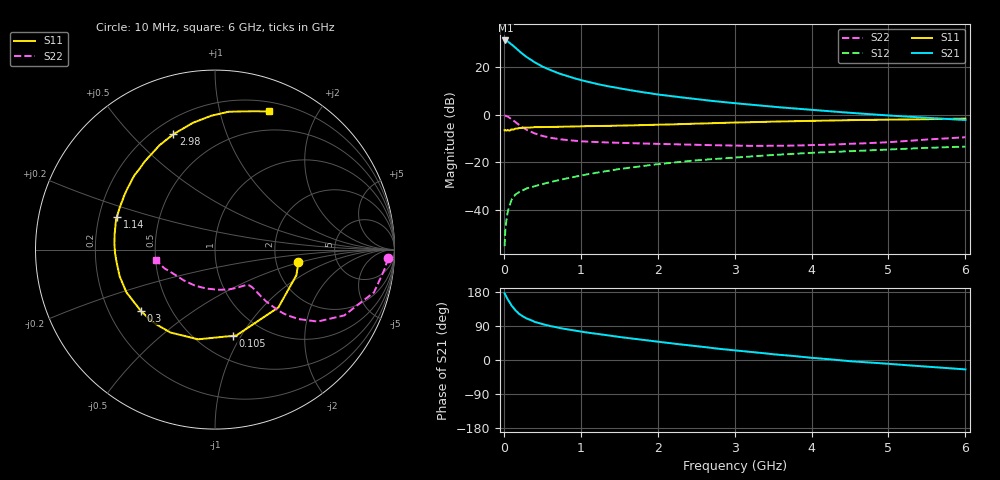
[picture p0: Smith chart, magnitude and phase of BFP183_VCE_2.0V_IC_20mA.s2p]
! Infineon Technologies  Discrete & RF Semiconductors
! BFP183
! VCE = 2.0 V,  IC =  20 mA
! Common Emitter S-Parameters:  Jan 2016
# GHz  S  MA  R  50
!  f  S11  S21  S12  S22
! GHz  MAG  ANG  MAG  ANG  MAG  ANG  MAG  ANG
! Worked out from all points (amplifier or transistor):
!   210 points, 10 MHz to 6 GHz, reference 50 ohm
!   highest |S21| = 31.3 dB at 20 MHz (marker M1)
!   |S21| within 3 dB of that: start of sweep to 148.2 MHz
!   unconditionally stable (mu >= 1): 738.7 MHz to 5.627 GHz
!   at 185 MHz: K = 0.41, MSG = 30.1 dB, |S12| = -32.9 dB
!   at 1.52 GHz: K = 1.17, MAG = 14.4 dB, |S12| = -22.8 dB
!   at 6 GHz: K = 0.95, MSG = 5.6 dB, |S12| = -13.4 dB
!   S11 on the Smith chart (normalised r, x): 10 MHz: 2.67, -0.48; 105 MHz: 0.73, -0.92; 300 MHz: 0.34, -0.33; 1.14 GHz: 0.28, +0.15; 2.98 GHz: 0.28, +0.67; 6 GHz: 0.29, +1.43
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0.01  0.4699 -8.6  36.72 175.9  0.0017 82.8  0.9638 -2.9
0.02  0.4755 -17.4  36.73 172.1  0.0037 80.0  0.9538 -6.1
0.05  0.4778 -42.3  35.14 160.0  0.0089 77.8  0.9173 -15.0
0.1  0.4931 -76.0  30.48 143.5  0.016 62.1  0.8078 -27.0
0.105  0.4905 -78.5  29.96 142.4  0.0165 61.3  0.7963 -27.7
0.15  0.5087 -100.7  25.85 130.9  0.0208 55.4  0.6986 -35.0
0.2  0.5245 -118.3  21.92 121.5  0.0234 52.0  0.6046 -39.8
0.24  0.5293 -127.9  19.3 116.1  0.0252 50.0  0.547 -42.1
0.3  0.536 -140.2  16.26 109.2  0.0281 47.9  0.4776 -44.1
0.4  0.548 -154.3  12.74 100.6  0.0311 48.2  0.4042 -45.4
0.5  0.5517 -164.3  10.37 94.6  0.0345 49.0  0.3575 -45.5
0.6  0.5525 -171.6  8.812 89.7  0.038 49.5  0.3284 -45.3
0.7  0.5571 -178.0  7.555 85.5  0.0412 51.1  0.3088 -45.3
1.02  0.5714 166.1  5.271 74.4  0.0529 52.9  0.275 -46.4
1.14  0.5762 161.5  4.737 70.9  0.0577 53.0  0.2685 -47.4
1.5  0.5886 149.4  3.604 60.8  0.0717 53.1  0.2564 -51.9
2.02  0.6158 133.2  2.65 47.9  0.0914 49.9  0.2432 -61.6
2.98  0.6828 109.8  1.765 25.8  0.125 42.3  0.2236 -86.5
3.1  0.6894 107.4  1.692 23.6  0.1289 41.2  0.2218 -90.2
4.1  0.7503 90.1  1.231 4.2  0.1598 32.2  0.2309 -122.4
5.1  0.7897 77.3  0.942 -11.6  0.1867 24.7  0.2702 -150.7
6  0.8267 68.6  0.775 -24.8  0.2129 16.1  0.336 -170.4
